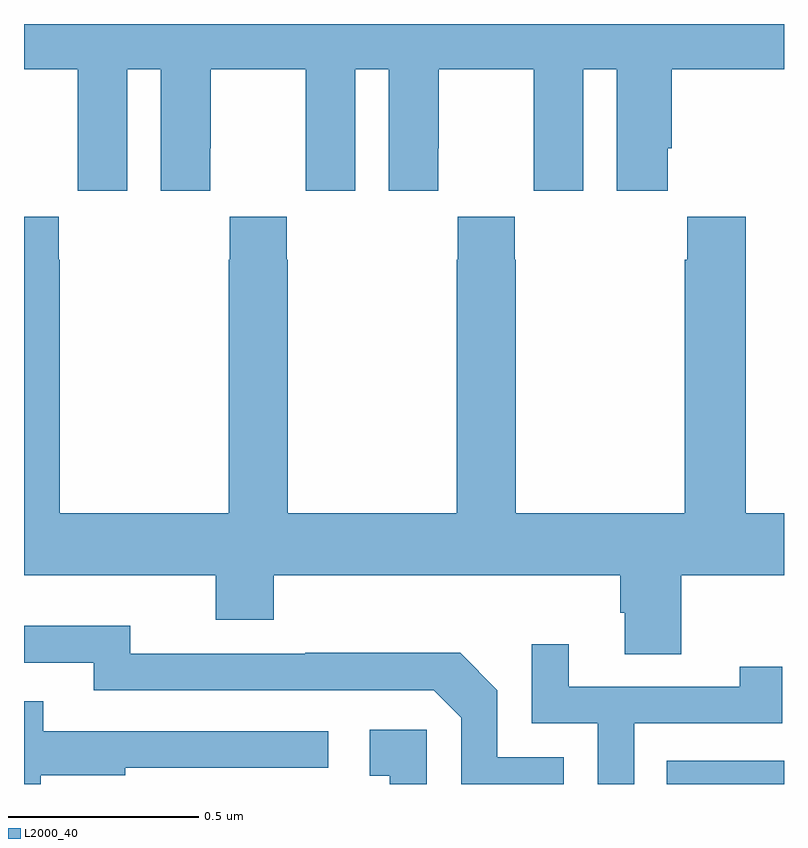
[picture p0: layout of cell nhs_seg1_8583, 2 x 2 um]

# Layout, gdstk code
import gdstk
lib = gdstk.Library(unit=1e-6, precision=1e-09)
def R(c, l, rs):  # rectangles x0, y0, x1, y1
    for r in rs: c.add(gdstk.rectangle(r[:2], r[2:], *l))
def P(c, l, *ps):  # polygons
    for p in ps: c.add(gdstk.Polygon(p, *l))
L2000_40 = (2000, 40)

nhs_seg1_8583 = lib.new_cell('nhs_seg1_8583')
R(nhs_seg1_8583, L2000_40, [(219.691,535.199,220,535.26)])
P(nhs_seg1_8583, L2000_40, [(218.272,537.08),(218.36,537.08),(218.36,536.76),(218.49,536.76),(218.49,536.872),(218.491,536.872),(218.491,537.08),(218.741,537.08),(218.741,536.872),(218.742,536.872),(218.742,536.76),(218.872,536.76),(218.872,537.08),(218.96,537.08),(218.96,536.76),(219.09,536.76),(219.09,536.872),(219.091,536.872),(219.091,537.08),(219.341,537.08),(219.341,536.872),(219.342,536.872),(219.342,536.76),(219.472,536.76),(219.472,537.08),(219.56,537.08),(219.56,536.76),(219.694,536.76),(219.694,536.872),(219.704,536.872),(219.704,537.08),(220,537.08),(220,537.199),(218,537.199),(218,537.08),(218.141,537.08),(218.141,536.872),(218.142,536.872),(218.142,536.76),(218.272,536.76)],
  [(219.294,536.579),(219.291,536.579),(219.291,536.692),(219.141,536.692),(219.141,536.579),(219.139,536.579),(219.139,535.912),(218.694,535.912),(218.694,536.579),(218.691,536.579),(218.691,536.692),(218.541,536.692),(218.541,536.579),(218.539,536.579),(218.539,535.912),(218.094,535.912),(218.094,536.579),(218.091,536.579),(218.091,536.692),(218,536.692),(218,535.748),(218.504,535.748),(218.504,535.631),(218.657,535.631),(218.657,535.748),(219.569,535.748),(219.569,535.65),(219.581,535.65),(219.581,535.54),(219.729,535.54),(219.729,535.748),(220,535.748),(220,535.912),(219.899,535.912),(219.899,536.692),(219.745,536.692),(219.745,536.579),(219.739,536.579),(219.739,535.912),(219.294,535.912)],
  [(219.42,535.269),(219.246,535.269),(219.246,535.446),(219.148,535.544),(218.74,535.544),(218.74,535.542),(218.28,535.542),(218.28,535.615),(218,535.615),(218,535.518),(218.184,535.518),(218.184,535.446),(219.078,535.446),(219.15,535.374),(219.15,535.199),(219.42,535.199)],
  [(219.606,535.359),(219.995,535.359),(219.995,535.507),(219.884,535.507),(219.884,535.455),(219.433,535.455),(219.433,535.567),(219.336,535.567),(219.336,535.359),(219.51,535.359),(219.51,535.199),(219.606,535.199)],
  [(218.044,535.222),(218.267,535.222),(218.267,535.242),(218.8,535.242),(218.8,535.338),(218.051,535.338),(218.051,535.417),(218,535.417),(218,535.199),(218.044,535.199)],
  [(219.06,535.342),(218.91,535.342),(218.91,535.221),(218.963,535.221),(218.963,535.199),(219.06,535.199)])

lib.write_gds('nhs_seg1_8583.gds')
